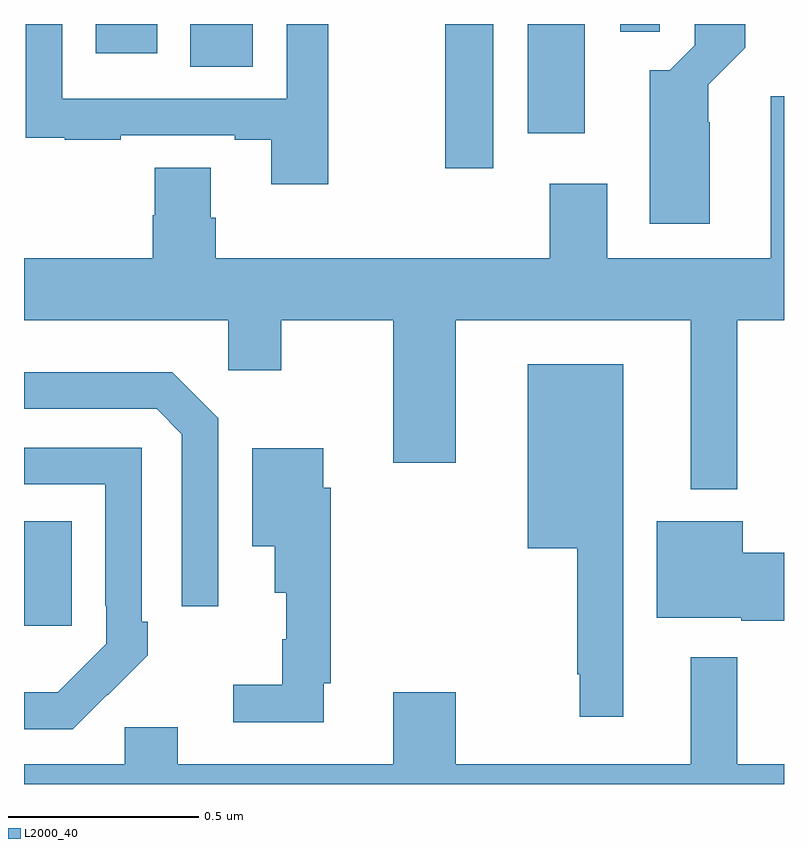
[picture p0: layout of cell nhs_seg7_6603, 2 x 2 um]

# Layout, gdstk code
import gdstk
lib = gdstk.Library(unit=1e-6, precision=1e-09)
def R(c, l, rs):  # rectangles x0, y0, x1, y1
    for r in rs: c.add(gdstk.rectangle(r[:2], r[2:], *l))
def P(c, l, *ps):  # polygons
    for p in ps: c.add(gdstk.Polygon(p, *l))
L2000_40 = (2000, 40)

nhs_seg7_6603 = lib.new_cell('nhs_seg7_6603')
R(nhs_seg7_6603, L2000_40, [(200,1062.417,200.125,1062.691), (201.109,1063.62,201.235,1064), (201.326,1063.713,201.475,1064), (200.438,1063.888,200.602,1064), (200.189,1063.923,200.35,1064), (201.569,1063.98,201.673,1064)])
P(nhs_seg7_6603, L2000_40, [(201.805,1063.742),(201.801,1063.742),(201.801,1063.84),(201.898,1063.937),(201.898,1064),(201.765,1064),(201.765,1063.944),(201.699,1063.878),(201.647,1063.878),(201.647,1063.475),(201.805,1063.475)],
  [(200.8,1064),(200.691,1064),(200.691,1063.803),(200.1,1063.803),(200.1,1064),(200.004,1064),(200.004,1063.81),(200.005,1063.81),(200.005,1063.701),(200.107,1063.701),(200.107,1063.695),(200.255,1063.695),(200.255,1063.707),(200.555,1063.707),(200.555,1063.695),(200.651,1063.695),(200.651,1063.578),(200.8,1063.578)],
  [(201.877,1063.22),(202,1063.22),(202,1063.81),(201.965,1063.81),(201.965,1063.384),(201.535,1063.384),(201.535,1063.579),(201.383,1063.579),(201.383,1063.384),(200.504,1063.384),(200.504,1063.49),(200.491,1063.49),(200.491,1063.622),(200.344,1063.622),(200.344,1063.497),(200.339,1063.497),(200.339,1063.384),(200,1063.384),(200,1063.22),(200.538,1063.22),(200.538,1063.089),(200.677,1063.089),(200.677,1063.22),(200.972,1063.22),(200.972,1062.846),(201.136,1062.846),(201.136,1063.22),(201.755,1063.22),(201.755,1062.776),(201.877,1062.776)],
  [(201.577,1063.105),(201.326,1063.105),(201.326,1062.62),(201.456,1062.62),(201.456,1062.289),(201.463,1062.289),(201.463,1062.177),(201.577,1062.177)],
  [(200.511,1062.963),(200.39,1063.084),(200,1063.084),(200,1062.987),(200.349,1062.987),(200.415,1062.921),(200.415,1062.468),(200.511,1062.468)],
  [(200.219,1062.235),(200.22,1062.234),(200.325,1062.339),(200.325,1062.427),(200.31,1062.427),(200.31,1062.885),(200,1062.885),(200,1062.789),(200.214,1062.789),(200.214,1062.469),(200.217,1062.469),(200.217,1062.369),(200.089,1062.241),(200,1062.241),(200,1062.144),(200.128,1062.144)],
  [(200.789,1062.265),(200.807,1062.265),(200.807,1062.779),(200.788,1062.779),(200.788,1062.883),(200.6,1062.883),(200.6,1062.626),(200.66,1062.626),(200.66,1062.503),(200.69,1062.503),(200.69,1062.381),(200.679,1062.381),(200.679,1062.261),(200.55,1062.261),(200.55,1062.162),(200.789,1062.162)],
  [(202,1062.608),(201.892,1062.608),(201.892,1062.691),(201.665,1062.691),(201.665,1062.437),(201.888,1062.437),(201.888,1062.43),(202,1062.43)],
  [(202,1062.052),(201.877,1062.052),(201.877,1062.334),(201.755,1062.334),(201.755,1062.052),(201.136,1062.052),(201.136,1062.241),(200.972,1062.241),(200.972,1062.052),(200.404,1062.052),(200.404,1062.15),(200.265,1062.15),(200.265,1062.052),(200,1062.052),(200,1062),(202,1062)])

lib.write_gds('nhs_seg7_6603.gds')
